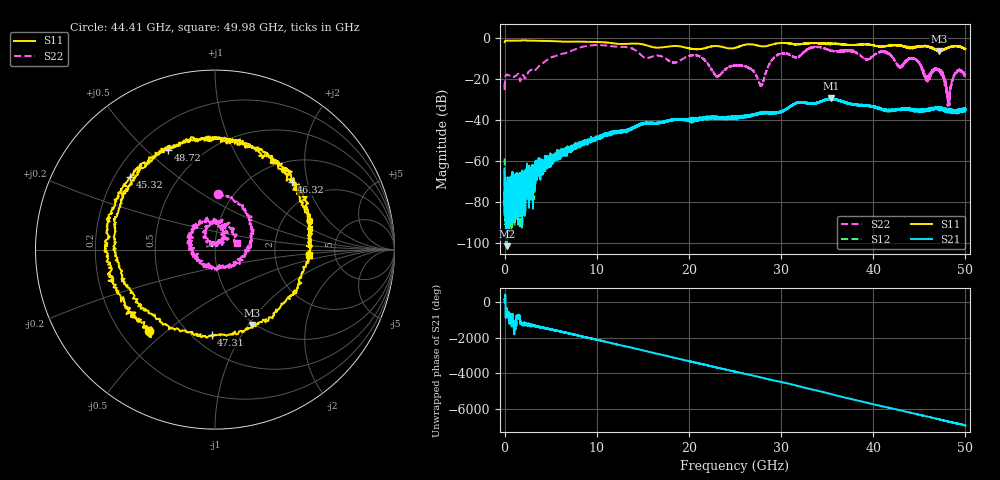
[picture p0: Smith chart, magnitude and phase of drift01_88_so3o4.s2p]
!Created with skrf (http://scikit-rf.org).
# Hz S RI R 50.0
!freq ReS11 ImS11 ReS21 ImS21 ReS12 ImS12 ReS22 ImS22
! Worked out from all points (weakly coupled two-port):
!   10001 points, 300 kHz to 50 GHz, reference 50 ohm
!   highest |S21| = -29.57 dB at 35.44 GHz (marker M1); lowest = -101.4 dB at 225.3 MHz (marker M2)
!   lowest |S11| = -6.6 dB at 47.12 GHz (marker M3), VSWR 2.76, Z = 48.5 - j52.1 ohm
!   |S11| at or under -10 dB: nowhere
!   |S22| runs from -33.1 to -3.6 dB; largest |S21 - S12| = 0.004
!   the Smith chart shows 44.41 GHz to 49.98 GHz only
!   S11 on the Smith chart (normalised r, x): 44.41 GHz: 0.32, -0.44; 45.32 GHz: 0.26, +0.35; 46.32 GHz: 1.44, +1.60; 47.31 GHz: 0.61, -0.75; 48.72 GHz: 0.33, +0.58; 49.98 GHz: 3.19, -0.28
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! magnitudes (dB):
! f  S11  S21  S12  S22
! 300 kHz  -2.2  -63.5  -58.7  -22.0
! 225.3 MHz  -1.4  -101.4  -74.8  -18.0
! 8.335 GHz  -1.9  -51.3  -50.9  -4.6
! 16.67 GHz  -4.8  -41.3  -41.8  -8.7
! 20.97 GHz  -5.7  -39.8  -40.0  -8.8
! 23.07 GHz  -4.1  -38.7  -39.2  -18.8
! 25 GHz  -5.0  -38.8  -38.7  -13.7
! 27.84 GHz  -4.1  -36.8  -36.5  -23.3
! 29.46 GHz  -2.9  -36.8  -36.7  -8.8
! 33.34 GHz  -2.6  -32.1  -31.9  -4.8
! 35.44 GHz  -3.0  -29.6  -29.8  -6.3
! 41.67 GHz  -3.9  -35.4  -35.3  -7.7
! 42.85 GHz  -3.8  -34.9  -35.1  -14.4
! 44.41 GHz  -4.7  -35.3  -35.0  -10.1
! 45.32 GHz  -4.1  -35.2  -35.0  -15.4
! 46.32 GHz  -4.9  -34.9  -34.8  -16.9
! 47.12 GHz  -6.6  -34.6  -34.6  -15.6
! 47.31 GHz  -6.4  -34.5  -34.7  -15.9
! 48.13 GHz  -4.8  -35.7  -35.3  -29.1
! 48.72 GHz  -4.3  -35.8  -36.4  -18.4
! 49.98 GHz  -5.6  -34.8  -34.6  -18.0
! 50 GHz  -5.5  -34.9  -35.5  -18.1
